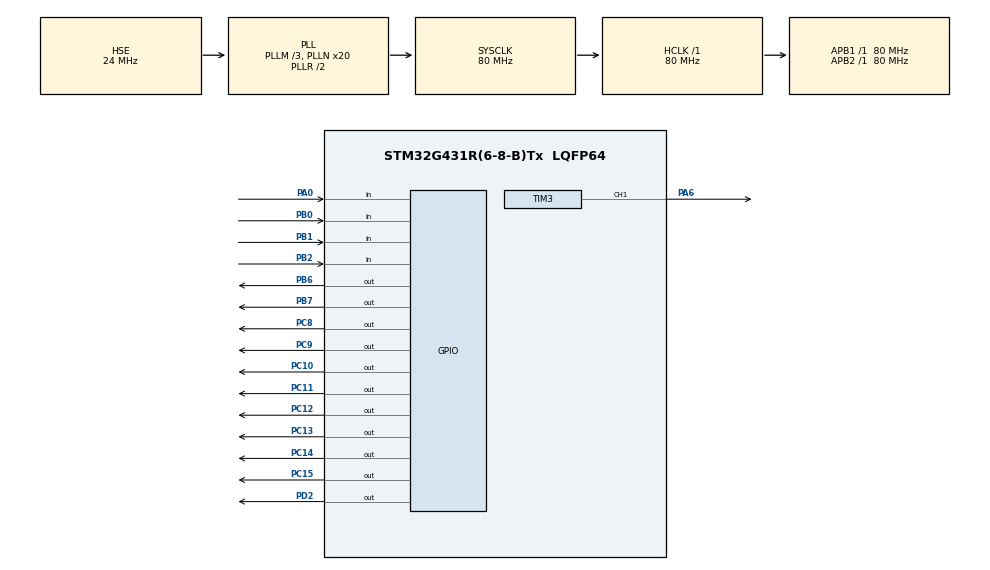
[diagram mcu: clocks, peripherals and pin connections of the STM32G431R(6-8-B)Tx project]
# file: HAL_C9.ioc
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Mcu.Family=STM32G4
Mcu.Name=STM32G431R(6-8-B)Tx
Mcu.Package=LQFP64
NVIC.PriorityGroup=NVIC_PRIORITYGROUP_4
NVIC.TIM6_DAC_IRQn=true\:0\:0\:false\:false\:true\:true\:true
PA0.Signal=GPIO_Input
PA6.Signal=S_TIM3_CH1
PB0.Signal=GPIO_Input
PB1.Signal=GPIO_Input
PB2.Signal=GPIO_Input
PB6.Signal=GPIO_Output
PB7.Signal=GPIO_Output
PC10.PinState=GPIO_PIN_SET
PC10.Signal=GPIO_Output
PC11.PinState=GPIO_PIN_SET
PC11.Signal=GPIO_Output
PC12.PinState=GPIO_PIN_SET
PC12.Signal=GPIO_Output
PC13.PinState=GPIO_PIN_SET
PC13.Signal=GPIO_Output
PC14-OSC32_IN.PinState=GPIO_PIN_SET
PC14-OSC32_IN.Signal=GPIO_Output
PC15-OSC32_OUT.PinState=GPIO_PIN_SET
PC15-OSC32_OUT.Signal=GPIO_Output
PC8.PinState=GPIO_PIN_SET
PC8.Signal=GPIO_Output
PC9.PinState=GPIO_PIN_SET
PC9.Signal=GPIO_Output
PD2.Signal=GPIO_Output
PF0-OSC_IN.Mode=HSE-External-Oscillator
PF0-OSC_IN.Signal=RCC_OSC_IN
PF1-OSC_OUT.Mode=HSE-External-Oscillator
PF1-OSC_OUT.Signal=RCC_OSC_OUT
ProjectManager.HeapSize=0x200
ProjectManager.StackSize=0x400
ProjectManager.TargetToolchain=MDK-ARM V5.27
RCC.ADC12Freq_Value=80000000
RCC.AHBFreq_Value=80000000
RCC.APB1Freq_Value=80000000
RCC.APB1TimFreq_Value=80000000
RCC.APB2Freq_Value=80000000
RCC.APB2TimFreq_Value=80000000
RCC.CortexFreq_Value=80000000
RCC.EXTERNAL_CLOCK_VALUE=12288000
RCC.HCLKFreq_Value=80000000
RCC.HSE_VALUE=24000000
RCC.HSI48_VALUE=48000000
RCC.HSI_VALUE=16000000
RCC.LSE_VALUE=32768
RCC.PLLM=RCC_PLLM_DIV3
RCC.PLLN=20
RCC.PLLSourceVirtual=RCC_PLLSOURCE_HSE
RCC.SYSCLKFreq_VALUE=80000000
RCC.SYSCLKSource=RCC_SYSCLKSOURCE_PLLCLK
RCC.USBFreq_Value=80000000
RCC.VCOOutputFreq_Value=160000000
SH.S_TIM3_CH1.0=TIM3_CH1,PWM Generation1 CH1
TIM3.AutoReloadPreload=TIM_AUTORELOAD_PRELOAD_ENABLE
TIM3.Channel-PWM\ Generation1\ CH1=TIM_CHANNEL_1
TIM3.PeriodNoDither=999
TIM3.Prescaler=79
TIM3.PulseNoDither_1=800
TIM6.AutoReloadPreload=TIM_AUTORELOAD_PRELOAD_ENABLE
TIM6.PeriodNoDither=999
TIM6.Prescaler=79
VP_SYS_VS_DBSignals.Mode=DisableDeadBatterySignals
VP_TIM3_VS_ClockSourceINT.Mode=Internal
VP_TIM6_VS_ClockSourceINT.Mode=Enable_Timer
board=custom

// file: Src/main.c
/* USER CODE BEGIN Header */
/**
  ******************************************************************************
  * @file           : main.c
  * @brief          : Main program body
  ******************************************************************************
  * @attention
  *
  * <h2><center>&copy; Copyright (c) 2024 STMicroelectronics.
  * All rights reserved.</center></h2>
  *
  * This software component is licensed by ST under BSD 3-Clause license,
  * the "License"; You may not use this file except in compliance with the
  * License. You may obtain a copy of the License at:
  *                        opensource.org/licenses/BSD-3-Clause
  *这里学到了IIC的正确写法。stop不写， waitACK要写，write要写延时
  *高亮
  ******************************************************************************
  */
/* USER CODE END Header */

#include "main.h"
#include "tim.h"
#include "gpio.h"

/* USER CODE BEGIN Includes */
#include "i2c_hal.h"
#include "lcd_hal.h"
#include <stdio.h>
#include "led.h"
/* USER CODE END Includes */

/* USER CODE BEGIN PTD */
typedef enum
{
	Key_Check,
	Key_Press,
	Key_Release,
	Key_Over
}Key_State;

typedef enum
{
	StandBy,
	Setting,
	Running,
	Pause
}TIMERState;
/* USER CODE END PTD */

/* USER CODE BEGIN PD */
#define K1 HAL_GPIO_ReadPin(GPIOB, GPIO_PIN_0)
#define K2 HAL_GPIO_ReadPin(GPIOB, GPIO_PIN_1)
#define K3 HAL_GPIO_ReadPin(GPIOB, GPIO_PIN_2)
#define K4 HAL_GPIO_ReadPin(GPIOA, GPIO_PIN_0)

#define Press GPIO_PIN_RESET
#define Release GPIO_PIN_SET

/* USER CODE END PD */

/* USER CODE BEGIN PV */
uint8_t Str[20];
uint8_t test_num;

Key_State KeyState = Key_Check;
uint16_t Key_Press_Time = 20, K3_Press_Time = 20;
uint8_t KeyNum;

TIMERState TIMER_State = StandBy;
uint8_t Flag_SetSelect;
uint8_t Hour, Minute, Second;

uint8_t Flag_LED_Flash = 0;

uint8_t ShowTime[20] = "HH:MM:SS";
uint8_t Flag_ROM_Lx = 1;

uint16_t LED_Flash_Time;

/* USER CODE END PV */

void SystemClock_Config(void);
/* USER CODE BEGIN PFP */
void HighLight(uint8_t Line, uint8_t * LCD_Show, uint8_t pos, uint8_t add);
/* USER CODE END PFP */

int main(void)
{

  /* MCU Configuration--------------------------------------------------------*/

  /* Reset of all peripherals, Initializes the Flash interface and the Systick. */
  HAL_Init();

  /* Configure the system clock */
  SystemClock_Config();

  /* Initialize all configured peripherals */
  MX_GPIO_Init();
  MX_TIM3_Init();
  MX_TIM6_Init();
  /* USER CODE BEGIN 2 */
  LED_Init();

  LCD_Init();
  LCD_Clear(Black);
  LCD_SetBackColor(Black);
  LCD_SetTextColor(White);

  HAL_TIM_PWM_Start_IT(&htim3, TIM_CHANNEL_1);
  __HAL_TIM_CLEAR_IT(&htim3, TIM_CHANNEL_1);

  HAL_TIM_Base_Start_IT(&htim6);
  __HAL_TIM_CLEAR_IT(&htim6, TIM_FLAG_UPDATE);

  Hour = x24C02_Read(0x01);
  Minute = x24C02_Read(0x02);
  Second = x24C02_Read(0x03);
  /* USER CODE END 2 */

  /* Infinite loop */
  /* USER CODE BEGIN WHILE */
  while (1)
  {

	  if(KeyState == Key_Over)
	  {
		  KeyState = Key_Check;
		  if(KeyNum == 1)//选择存储位置1~5
		  {
			  Flag_ROM_Lx ++;
			  if(Flag_ROM_Lx == 6)Flag_ROM_Lx = 1;

			  if(Flag_ROM_Lx == 1)
			  {
				  Hour = x24C02_Read(0x01);
				  Minute = x24C02_Read(0x02);
				  Second = x24C02_Read(0x03);
			  }
			  else if(Flag_ROM_Lx == 2)
			  {
				  Hour = x24C02_Read(0x04);
				  Minute = x24C02_Read(0x05);
				  Second = x24C02_Read(0x06);
			  }
			  else if(Flag_ROM_Lx == 3)
			  {
				  Hour = x24C02_Read(0x07);
				  Minute = x24C02_Read(0x08);
				  Second = x24C02_Read(0x09);
			  }
			  else if(Flag_ROM_Lx == 4)
			  {
				  Hour = x24C02_Read(0x0a);
				  Minute = x24C02_Read(0x0b);
				  Second = x24C02_Read(0x0c);
			  }
			  else if(Flag_ROM_Lx == 5)
			  {
				  Hour = x24C02_Read(0x0d);
				  Minute = x24C02_Read(0x0e);
				  Second = x24C02_Read(0x0f);
			  }
		  }
		  else if(KeyNum == 2 && Key_Press_Time < 800)//选择时分�?
		  {
			  TIMER_State = Setting;
			  Flag_SetSelect++;
			  Flag_SetSelect %= 3;
		  }
		  else if(KeyNum == 2 && Key_Press_Time >= 800)
		  {
			  if(TIMER_State == Setting)
			  {
				  if(Flag_ROM_Lx == 1)
				  {
					  x24C02_Write(0x01, Hour);
					  x24C02_Write(0x02, Minute);
					  x24C02_Write(0x03, Second);
				  }
				  else if(Flag_ROM_Lx == 2)
				  {
					  x24C02_Write(0x04, Hour);
					  x24C02_Write(0x05, Minute);
					  x24C02_Write(0x06, Second);
				  }
				  else if(Flag_ROM_Lx == 3)
				  {
					  x24C02_Write(0x07, Hour);
					  x24C02_Write(0x08, Minute);
					  x24C02_Write(0x09, Second);
				  }
				  else if(Flag_ROM_Lx == 4)
				  {
					  x24C02_Write(0x0a, Hour);
					  x24C02_Write(0x0b, Minute);
					  x24C02_Write(0x0c, Second);
				  }
				  else if(Flag_ROM_Lx == 5)
				  {
					  x24C02_Write(0x0d, Hour);
					  x24C02_Write(0x0e, Minute);
					  x24C02_Write(0x0f, Second);
				  }
			  }

			  TIMER_State = StandBy;
		  }
		  else if(KeyNum == 3 && Key_Press_Time < 800)//加一
		  {
			  if(TIMER_State == Setting)
			  {
				  if(Flag_SetSelect == 0){if(++Hour >= 24)Hour = 0;}
				  else if(Flag_SetSelect == 1){if(++Minute >= 60)Minute = 0;}
				  else if(Flag_SetSelect == 2){if(++Second >= 60)Second = 0;}
			  }
		  }
		  else if(KeyNum == 4 && Key_Press_Time < 800)
		  {
			  if(TIMER_State == Running)TIMER_State = Pause;
			  else if(TIMER_State == Pause)TIMER_State = Running;
			  else if(TIMER_State == StandBy)TIMER_State = Running;
			  else if(TIMER_State == Setting)TIMER_State = Running;
		  }
		  else if(KeyNum == 4 && Key_Press_Time >= 800)
		  {
			  TIMER_State = StandBy;
		  }
		  Key_Press_Time = 0;
	  }

	  if(TIMER_State == Running)
	  {
		  if(Flag_LED_Flash == 0)LED_ON(1);
		  else if(Flag_LED_Flash == 1)LED_OFF(1);
		  __HAL_TIM_SET_COMPARE(&htim3, TIM_CHANNEL_1, 800);
	  }
	  else if(TIMER_State == Pause || TIMER_State == StandBy)
	  {
		  LED_OFF(1);
		  __HAL_TIM_SET_COMPARE(&htim3, TIM_CHANNEL_1, 0);
	  }

	  if(Flag_ROM_Lx == 1)LCD_DisplayStringLine(Line2, (uint8_t *)"    NO 1");
	  else if(Flag_ROM_Lx == 2)LCD_DisplayStringLine(Line2, (uint8_t *)"    NO 2");
	  else if(Flag_ROM_Lx == 3)LCD_DisplayStringLine(Line2, (uint8_t *)"    NO 3");
	  else if(Flag_ROM_Lx == 4)LCD_DisplayStringLine(Line2, (uint8_t *)"    NO 4");
	  else if(Flag_ROM_Lx == 5)LCD_DisplayStringLine(Line2, (uint8_t *)"    NO 5");

	  if(TIMER_State == StandBy)LCD_DisplayStringLine(Line8, (uint8_t *)"      StandBy");
	  else if(TIMER_State == Pause)LCD_DisplayStringLine(Line8, (uint8_t *)"      Pause");
	  else if(TIMER_State == Running)LCD_DisplayStringLine(Line8, (uint8_t *)"      Running");
	  else if(TIMER_State == Setting)LCD_DisplayStringLine(Line8, (uint8_t *)"      Setting");

	  sprintf((char *)ShowTime, "     %2d:%2d:%2d       ", Hour, Minute, Second);
//	  LCD_DisplayStringLine(Line6, ShowTime);
	  if(Flag_SetSelect == 0)HighLight(7, ShowTime, 5, 3);
	  else if(Flag_SetSelect == 1)HighLight(7, ShowTime, 8, 3);
	  else if(Flag_SetSelect == 2)HighLight(7, ShowTime, 11, 3);

    /* USER CODE END WHILE */

  }
}

void SystemClock_Config(void)
{
  RCC_OscInitTypeDef RCC_OscInitStruct = {0};
  RCC_ClkInitTypeDef RCC_ClkInitStruct = {0};

  /** Configure the main internal regulator output voltage
  */
  HAL_PWREx_ControlVoltageScaling(PWR_REGULATOR_VOLTAGE_SCALE1);
  /** Initializes the CPU, AHB and APB busses clocks
  */
  RCC_OscInitStruct.OscillatorType = RCC_OSCILLATORTYPE_HSE;
  RCC_OscInitStruct.HSEState = RCC_HSE_ON;
  RCC_OscInitStruct.PLL.PLLState = RCC_PLL_ON;
  RCC_OscInitStruct.PLL.PLLSource = RCC_PLLSOURCE_HSE;
  RCC_OscInitStruct.PLL.PLLM = RCC_PLLM_DIV3;
  RCC_OscInitStruct.PLL.PLLN = 20;
  RCC_OscInitStruct.PLL.PLLP = RCC_PLLP_DIV2;
  RCC_OscInitStruct.PLL.PLLQ = RCC_PLLQ_DIV2;
  RCC_OscInitStruct.PLL.PLLR = RCC_PLLR_DIV2;
  if (HAL_RCC_OscConfig(&RCC_OscInitStruct) != HAL_OK)
  {
    Error_Handler();
  }
  /** Initializes the CPU, AHB and APB busses clocks
  */
  RCC_ClkInitStruct.ClockType = RCC_CLOCKTYPE_HCLK|RCC_CLOCKTYPE_SYSCLK
                              |RCC_CLOCKTYPE_PCLK1|RCC_CLOCKTYPE_PCLK2;
  RCC_ClkInitStruct.SYSCLKSource = RCC_SYSCLKSOURCE_PLLCLK;
  RCC_ClkInitStruct.AHBCLKDivider = RCC_SYSCLK_DIV1;
  RCC_ClkInitStruct.APB1CLKDivider = RCC_HCLK_DIV1;
  RCC_ClkInitStruct.APB2CLKDivider = RCC_HCLK_DIV1;

  if (HAL_RCC_ClockConfig(&RCC_ClkInitStruct, FLASH_LATENCY_3) != HAL_OK)
  {
    Error_Handler();
  }
}

/* USER CODE BEGIN 4 */
void HighLight(uint8_t Line, uint8_t * LCD_Show, uint8_t pos, uint8_t add)
{
	uint8_t i;

	for(i = 0; i < 20; i++)
	{
		if(i != pos)LCD_DisplayChar(24 * Line, 320 - (16 * i), LCD_Show[i]);
		else if(i == pos)i += add;
	}
	LCD_SetBackColor(White);
	LCD_SetTextColor(Black);

	for(i = 0; i < add; i++)
	{

		LCD_DisplayChar(24 * Line, 320 - (16 * (pos + i)), LCD_Show[pos + i]);
	}
	LCD_SetBackColor(Black);
	LCD_SetTextColor(White);
}

void HAL_TIM_PeriodElapsedCallback(TIM_HandleTypeDef *htim)
{
	static uint16_t Tcount;
	if(++Tcount == 1000)
	{
		Tcount = 0;
		if(TIMER_State == Running)
		{
			Second --;
			if(Second == 255)
			{
				Second = 59;
				Minute --;
				if(Minute == 255)
				{
					Minute = 59;
					Hour --;
					if(Hour == 255)
					{
						Hour = 0;
						Minute = 0;
						Second = 0;
						TIMER_State = StandBy;//计时结束
					}
				}
			}
		}
	}

	if(++LED_Flash_Time == 500)
	{
	  LED_Flash_Time = 0;
	  Flag_LED_Flash = !Flag_LED_Flash;
	}
}
void Key_Scan(void)
{
	switch(KeyState)
	{
		case Key_Check:
		{
			if(K1 == Press || K2 == Press || K3 == Press || K4 == Press)
			{
				KeyState = Key_Press;
			}
		}
		break;
		case Key_Press:
		{
			if(K1 == Press)KeyNum = 1;
			else if(K2 == Press)KeyNum = 2;
			else if(K3 == Press)KeyNum = 3;
			else if(K4 == Press)KeyNum = 4;
			KeyState = Key_Release;
		}
		break;
		case Key_Release:
		{
			if(K1 == Press || K2 == Press || K3 == Press || K4 == Press)
			{
				Key_Press_Time += 10;
				if(K3 == Press)
				{
					K3_Press_Time += 10;
					if(K3_Press_Time >= 800)
					{
						if(Flag_SetSelect == 0){if(++Hour == 24)Hour = 0;}
						else if(Flag_SetSelect == 1){if(++Minute == 60)Minute = 0;}
						else if(Flag_SetSelect == 2){if(++Second == 60)Second = 0;}
					}
				}
			}
			else
			{
				KeyState = Key_Over;
				K3_Press_Time = 0;
			}
		}
		break;
		default:
		break;
	}
}
/* USER CODE END 4 */

void Error_Handler(void)
{
}

/************************ (C) COPYRIGHT STMicroelectronics *****END OF FILE****/
